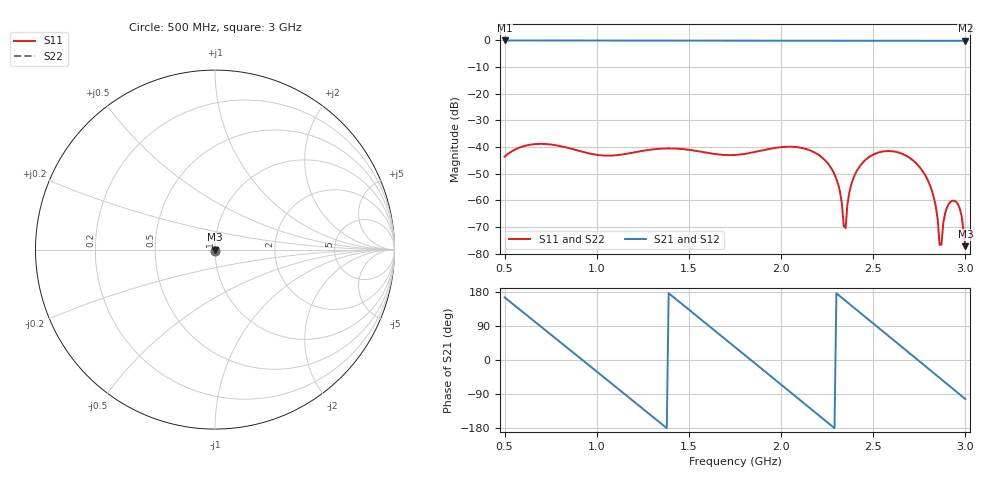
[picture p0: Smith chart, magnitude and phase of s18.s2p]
!freq-unit  param-type  data-format  keyword  impedance-ohms
# GHZ  S  RI  R  50
!Freq  ReS11  ImS11  ReS21  ImS21  ReS12  ImS12  ReS22  ImS22
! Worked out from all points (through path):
!   251 points, 500 MHz to 3 GHz, reference 50 ohm
!   highest |S21| = -0.06 dB at 500 MHz (marker M1); lowest = -0.2 dB at 3 GHz (marker M2)
!   group delay of S21, straight-line fit = 1.1 ns
!   lowest |S11| = -77.2 dB at 3 GHz (marker M3), VSWR 1.00, Z = 50 + j0.0137 ohm
!   |S11| at or under -10 dB: start of sweep to end of sweep
!   |S22| runs from -77.2 to -38.8 dB; largest |S21 - S12| = 0
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0.5  -0.00173 -0.00636  -0.9604 0.2527  -0.9604 0.2527  -0.00173 -0.00636
0.7  -0.0114 0.000594  0.0503 0.9902  0.0503 0.9902  -0.0114 0.000594
0.92  -0.000152 0.00819  0.9898 0.016  0.9898 0.016  -0.000152 0.00819
1.14  0.00724 0.000569  0.0787 -0.9853  0.0787 -0.9853  0.00724 0.000569
1.34  0.00253 -0.00893  -0.9494 -0.2703  -0.9494 -0.2703  0.00253 -0.00893
1.56  -0.00777 -0.00271  -0.3238 0.9311  -0.3238 0.9311  -0.00777 -0.00271
1.75  -0.00396 0.00589  0.8152 0.5524  0.8152 0.5524  -0.00396 0.00589
1.87  0.00194 0.00802  0.9574 -0.2272  0.9574 -0.2272  0.00194 0.00802
2  0.00901 0.00422  0.418 -0.89  0.418 -0.89  0.00901 0.00422
2.17  0.0062 -0.00551  -0.6608 -0.7268  -0.6608 -0.7268  0.0062 -0.00551
2.29  0.000145 -0.00307  -0.9817 -0.000955  -0.9817 -0.000955  0.000145 -0.00307
2.35  0.00024 0.000187  -0.8979 0.396  -0.8979 0.396  0.00024 0.000187
2.37  0.000848 0.0011  -0.8344 0.5164  -0.8344 0.5164  0.000848 0.0011
2.41  0.00269 0.00228  -0.6606 0.7253  -0.6606 0.7253  0.00269 0.00228
2.59  0.00734 -0.0041  0.4805 0.8542  0.4805 0.8542  0.00734 -0.0041
2.78  -0.00068 -0.00296  0.945 -0.2561  0.945 -0.2561  -0.00068 -0.00296
2.84  -0.000402 -0.000632  0.7593 -0.6177  0.7593 -0.6177  -0.000402 -0.000632
2.86  -4.78e-05 -0.000139  0.6659 -0.7172  0.6659 -0.7172  -4.78e-05 -0.000139
2.9  0.000668 0.000312  0.4425 -0.8727  0.4425 -0.8727  0.000668 0.000312
2.94  0.000961 0.000217  0.1848 -0.9607  0.1848 -0.9607  0.000961 0.000217
2.98  0.000499 5.04e-05  -0.0871 -0.9742  -0.0871 -0.9742  0.000499 5.04e-05
3  -2.46e-05 0.000137  -0.2219 -0.9525  -0.2219 -0.9525  -2.46e-05 0.000137
